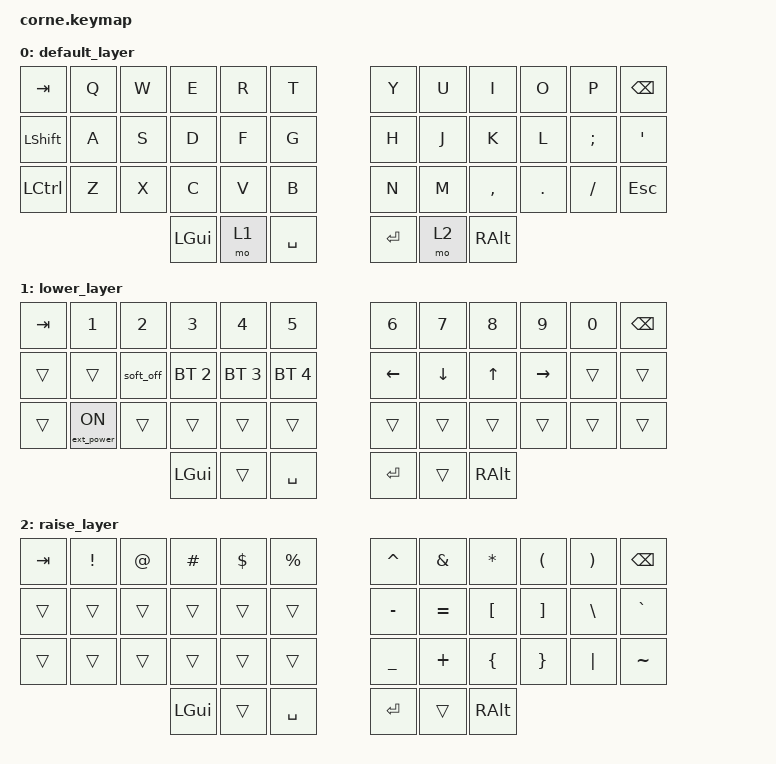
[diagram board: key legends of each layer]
/*
 * Copyright (c) 2020 The ZMK Contributors
 *
 * SPDX-License-Identifier: MIT
 */

#include <behaviors.dtsi>
#include <dt-bindings/zmk/keys.h>
#include <dt-bindings/zmk/bt.h>
#include <dt-bindings/zmk/ext_power.h>


&soft_off {
        hold-time-ms = <5000>; // Only turn off it the key is held for 5 seconds or longer.
};
/ {
        keymap {
                compatible = "zmk,keymap";

                default_layer {
                        bindings = <
   &kp TAB   &kp Q &kp W &kp E &kp R &kp T   &kp Y &kp U  &kp I     &kp O   &kp P    &kp BSPC
   &kp LSHFT &kp A &kp S &kp D &kp F &kp G   &kp H &kp J  &kp K     &kp L   &kp SEMI &kp SQT
   &kp LCTRL &kp Z &kp X &kp C &kp V &kp B   &kp N &kp M  &kp COMMA &kp DOT &kp FSLH &kp ESC
                  &kp LGUI &mo 1 &kp SPACE   &kp RET &mo 2 &kp RALT
                        >;
                };
                lower_layer {
                        bindings = <
   &kp TAB    &kp N1       &kp N2       &kp N3       &kp N4       &kp N5         &kp N6   &kp N7   &kp N8 &kp N9    &kp N0 &kp BSPC
   &trans &trans &soft_off &bt BT_SEL 2 &bt BT_SEL 3 &bt BT_SEL 4   &kp LEFT &kp DOWN &kp UP &kp RIGHT &trans &trans
   &trans  &ext_power EP_ON       &trans       &trans       &trans       &trans         &trans   &trans   &trans &trans    &trans &trans
                                    &kp LGUI     &trans       &kp SPACE      &kp RET  &trans   &kp RALT
                        >;
                };

                raise_layer {
// -----------------------------------------------------------------------------------------
// |  TAB |  !  |  @  |  #  |  $  |  %  |   |  ^  |  &  |  *  |  (  |  )  | BSPC |
// | CTRL |     |     |     |     |     |   |  -  |  =  |  [  |  ]  |  \  |  `   |
// | SHFT |     |     |     |     |     |   |  _  |  +  |  {  |  }  | "|" |  ~   |
//                    | GUI |     | SPC |   | ENT |     | ALT |
                        bindings = <
   &kp  TAB  &kp EXCL &kp AT &kp HASH &kp DLLR &kp PRCNT   &kp CARET &kp AMPS  &kp ASTRK &kp LPAR &kp RPAR &kp BSPC
   &trans &trans   &trans &trans   &trans   &trans      &kp MINUS &kp EQUAL &kp LBKT  &kp RBKT &kp BSLH &kp GRAVE
   &trans &trans   &trans &trans   &trans   &trans      &kp UNDER &kp PLUS  &kp LBRC  &kp RBRC &kp PIPE &kp TILDE
                             &kp LGUI &trans   &kp SPACE   &kp RET   &trans    &kp RALT
                        >;
                };
                fn_layer{
                        status="reserved";
                };
        };
};
